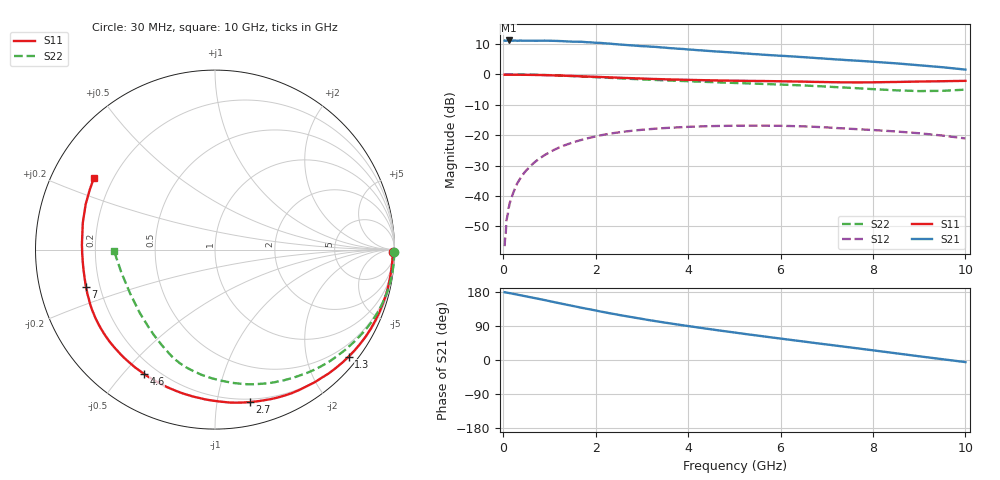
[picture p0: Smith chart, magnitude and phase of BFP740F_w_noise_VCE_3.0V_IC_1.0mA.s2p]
! (c) 2012  Infineon Technologies AG, Munich
! Infineon Technologies  Discrete & RF Semiconductors
! BFP740F
! VCE =  3.0 V,  IC =  1.0 mA
! Common Emitter S-Parameters:  Oct 2012
# GHz  S  MA  R  50
!  f  S11  S21  S12  S22
! GHz  MAG  ANG  MAG  ANG  MAG  ANG  MAG  ANG
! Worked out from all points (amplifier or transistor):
!   99 points, 30 MHz to 10 GHz, reference 50 ohm
!   highest |S21| = 11.2 dB at 120 MHz (marker M1)
!   |S21| within 3 dB of that: start of sweep to 4.038 GHz
!   unconditionally stable (mu >= 1): nowhere
!   at 350 MHz: K = -0.01, MSG = 22.9 dB, |S12| = -34.7 dB
!   at 3.5 GHz: K = 0.20, MSG = 13.2 dB, |S12| = -17.6 dB
!   at 10 GHz: K = 0.95, MSG = 11.3 dB, |S12| = -21.1 dB
!   lowest NFmin = 0.44 dB at 450 MHz
!   S11 on the Smith chart (normalised r, x): 30 MHz: open; 1.3 GHz: 0.21, -2.83; 2.7 GHz: 0.18, -1.24; 4.6 GHz: 0.15, -0.57; 7 GHz: 0.15, -0.14; 10 GHz: 0.13, +0.27
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0.03  0.9898 -0.9  3.596 178.7  0.0015 96.9  0.9994 -0.7
0.04  0.9901 -1.3  3.568 178.5  0.002 91.3  0.9996 -0.8
0.05  0.9898 -1.4  3.576 178.5  0.0021 100.1  0.9998 -1.0
0.07  0.99 -2.1  3.587 178.1  0.004 91.9  0.9995 -1.5
0.12  0.9896 -3.6  3.618 176.9  0.0065 87.7  0.9991 -2.5
0.3  0.9877 -8.9  3.573 172.6  0.016 84.4  0.9972 -6.1
0.5  0.985 -14.9  3.584 167.8  0.0265 79.8  0.9928 -10.3
0.9  0.9736 -26.9  3.593 158.0  0.0474 70.6  0.9779 -18.6
1.3  0.954 -38.7  3.519 147.7  0.0671 61.5  0.9534 -27.0
1.7  0.9288 -50.4  3.442 137.7  0.0841 52.7  0.9233 -35.3
2.1  0.9072 -61.8  3.302 128.1  0.0995 44.0  0.8937 -43.8
2.7  0.8716 -77.1  3.032 114.8  0.1165 32.3  0.8484 -55.3
3.4  0.836 -93.9  2.787 100.6  0.1299 19.9  0.8045 -67.3
4  0.814 -107.1  2.57 89.6  0.1374 10.7  0.7737 -75.9
4.6  0.7972 -119.9  2.385 79.2  0.1418 1.9  0.7432 -83.9
5.1  0.7872 -130.2  2.254 70.9  0.1434 -5.1  0.7198 -90.5
6.1  0.7694 -148.5  2.01 54.9  0.1424 -18.6  0.6767 -103.3
6.7  0.7544 -158.9  1.876 45.6  0.1379 -26.7  0.6471 -110.7
7  0.7481 -164.0  1.805 41.0  0.1345 -30.5  0.6309 -114.2
7.8  0.7403 -178.3  1.654 28.6  0.1241 -39.0  0.5847 -125.7
8.5  0.7516 168.5  1.521 17.7  0.1154 -46.4  0.5476 -140.1
10  0.784 149.4  1.201 -5.5  0.0886 -62.1  0.5619 -179.0
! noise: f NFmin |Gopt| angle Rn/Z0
0.45  0.44  0.65  10  0.5
0.9  0.53  0.66  18  0.46
1.5  0.68  0.66  29  0.43
1.9  0.79  0.62  40  0.44
2.4  0.93  0.59  48  0.44
3.5  1.24  0.54  72  0.41
5.5  1.77  0.47  117  0.31
10  2.79  0.61  -140  0.14
